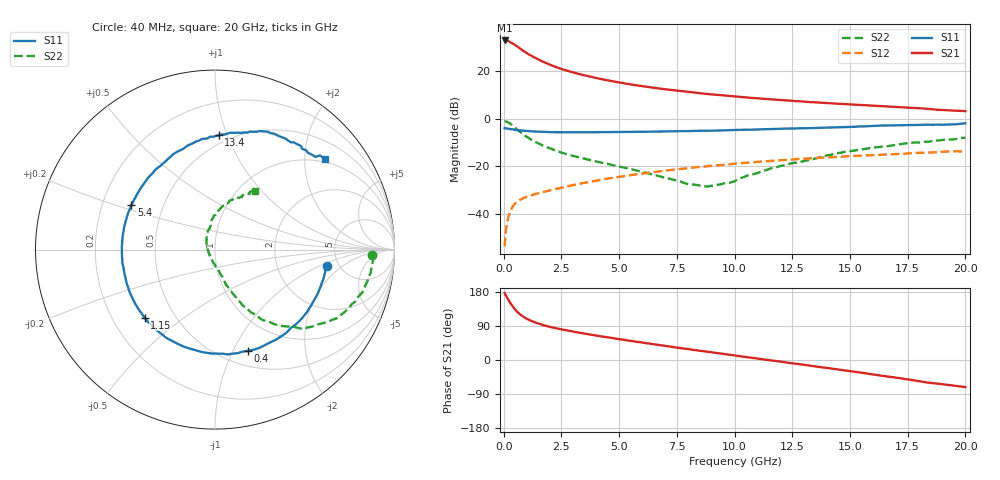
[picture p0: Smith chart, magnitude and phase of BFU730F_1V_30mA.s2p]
! Filename:  P:\Prog\Test\Noise\ATS_data\Testdata_Net\Split files Spar\BFU730_2W_B1_1V_1mA_30mA_Bias10_D.s2p
! Date/Time: Fri 29/Apr/2011 14:16:29
! BFU730_2W_B1_1V_1mA_30mA_Bias10_R.s2p
! MDIF S-parameter v. bias file
! BFU730_2W_B1_1V_1mA_30mA
! Date/time Thu Mar 17 14:34:31 2011
! VAR V_out= 1.0000
! VAR I_out= 30.0000
! VAR V_in= 0.8383
! VAR I_in= 0.1101
! Device data file deembeded for feedlines and parallel
! Original file: \Split files Spar\BFU730_2W_B1_1V_1mA_30mA_Bias10_R.s2p
! Feed-files: PR003V01_101208_Feed1.s2p, PR003V01_101208_Feed2.s2p
! Parallel-file: PR003V01_101208_Par.s2p
# MHz S MA R 50
!  Freq-MHz  S11-mag  S11-arg  S21-mag  S21-arg  S12-mag  S12-arg  S22-mag  S22-arg
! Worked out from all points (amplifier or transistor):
!   167 points, 40 MHz to 20 GHz, reference 50 ohm
!   highest |S21| = 32.8 dB at 40 MHz (marker M1)
!   |S21| within 3 dB of that: start of sweep to 658.2 MHz
!   unconditionally stable (mu >= 1): 2.603 GHz to 19.59 GHz
!   at 550 MHz: K = 0.38, MSG = 32.8 dB, |S12| = -35.1 dB
!   at 4.2 GHz: K = 1.13, MAG = 19.0 dB, |S12| = -25.6 dB
!   at 20 GHz: K = 0.95, MSG = 8.4 dB, |S12| = -13.7 dB
!   S11 on the Smith chart (normalised r, x): 40 MHz: 4.06, -1.20; 400 MHz: 0.66, -1.14; 1.15 GHz: 0.34, -0.36; 5.4 GHz: 0.33, +0.22; 13.4 GHz: 0.43, +0.93; 20 GHz: 0.90, +2.50
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40  0.6321 -8.1  43.67 176.6  0.002121 63.3  0.8776 -2.1
50  0.6232 -10.4  43.61 174.7  0.002476 76.2  0.8823 -3.7
60  0.6268 -11.7  42.37 173.9  0.003086 70.0  0.8802 -4.9
80  0.6253 -15.7  43.36 172.1  0.003761 70.3  0.8774 -7.2
120  0.6227 -23.5  43.16 167.5  0.005414 70.7  0.8666 -11.8
220  0.6143 -42.1  42.1 157.0  0.009243 66.9  0.82 -21.9
300  0.6063 -56.0  39.73 149.0  0.01195 63.1  0.7794 -29.4
400  0.5928 -72.1  37.59 140.5  0.01459 58.5  0.7059 -36.2
550  0.5795 -91.7  33.63 129.4  0.01751 53.4  0.6101 -44.7
750  0.5651 -111.2  28.71 118.5  0.02042 49.2  0.5085 -52.8
950  0.5555 -125.3  24.66 110.4  0.02257 47.1  0.4311 -57.9
1150  0.5455 -136.0  21.46 104.3  0.02439 46.1  0.3737 -61.3
1500  0.534 -149.4  17.41 96.2  0.02734 45.9  0.3021 -65.8
1950  0.5237 -161.6  13.87 88.2  0.03108 46.3  0.2444 -69.3
2500  0.5212 -172.5  11.04 80.8  0.03586 47.4  0.1948 -73.0
3400  0.5189 174.4  8.332 70.8  0.04426 47.3  0.1492 -76.1
5400  0.5272 152.0  5.335 51.3  0.06454 42.9  0.08974 -88.7
6800  0.5384 139.2  4.258 39.0  0.07902 37.8  0.06128 -105.7
10200  0.5831 112.0  2.878 10.3  0.1158 21.6  0.05585 146.2
13400  0.6371 88.2  2.215 -16.1  0.1491 2.9  0.1424 100.4
16800  0.7242 63.1  1.778 -44.8  0.1792 -17.4  0.2728 73.7
20000  0.7962 39.5  1.444 -71.6  0.2064 -38.5  0.3979 55.8
